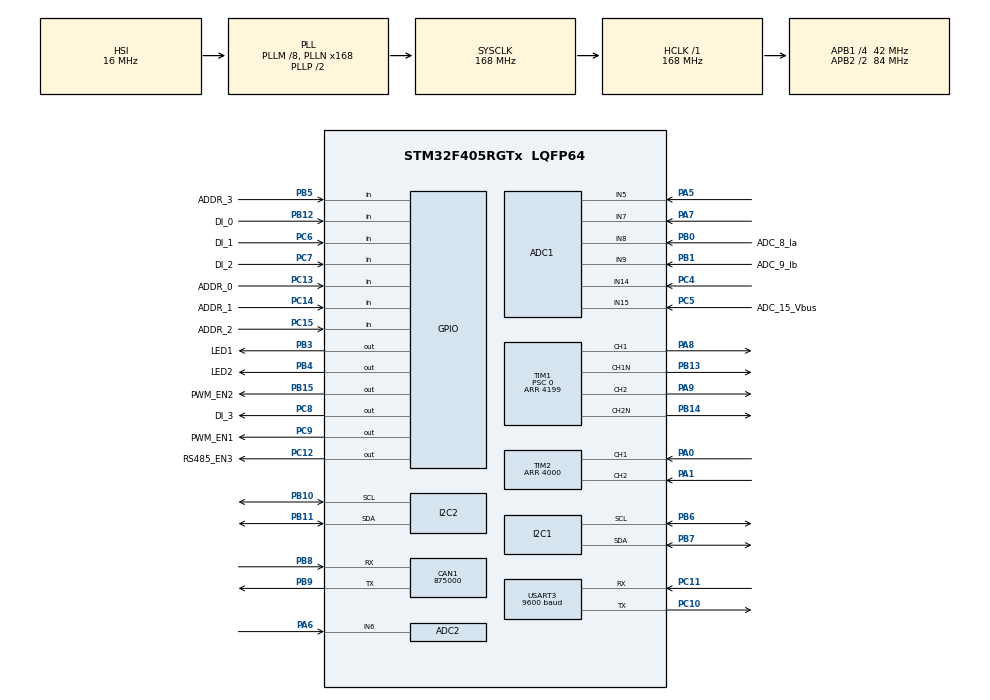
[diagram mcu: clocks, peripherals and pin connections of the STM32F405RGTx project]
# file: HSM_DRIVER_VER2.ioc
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ADC1.Channel-0\#ChannelRegularConversion=ADC_CHANNEL_9
ADC1.Channel-2\#ChannelRegularConversion=ADC_CHANNEL_8
ADC1.ClockPrescaler=ADC_CLOCK_SYNC_PCLK_DIV4
ADC1.ContinuousConvMode=DISABLE
ADC1.EOCSelection=ADC_EOC_SEQ_CONV
ADC1.NbrOfConversion=2
ADC1.NbrOfConversionFlag=1
ADC1.Rank-0\#ChannelRegularConversion=1
ADC1.Rank-2\#ChannelRegularConversion=2
ADC1.SamplingTime-0\#ChannelRegularConversion=ADC_SAMPLETIME_3CYCLES
ADC1.SamplingTime-2\#ChannelRegularConversion=ADC_SAMPLETIME_3CYCLES
ADC1.ScanConvMode=ENABLE
ADC1.master=1
ADC2.Channel-0\#ChannelRegularConversion=ADC_CHANNEL_6
ADC2.ClockPrescaler=ADC_CLOCK_SYNC_PCLK_DIV4
ADC2.NbrOfConversionFlag=1
ADC2.Rank-0\#ChannelRegularConversion=1
ADC2.SamplingTime-0\#ChannelRegularConversion=ADC_SAMPLETIME_3CYCLES
CAN1.CalculateBaudRate=875000
CAN1.CalculateTimeBit=1142
CAN1.CalculateTimeQuantum=380.95238095238096
Dma.ADC1.0.Direction=DMA_PERIPH_TO_MEMORY
Dma.ADC1.0.FIFOMode=DMA_FIFOMODE_DISABLE
Dma.ADC1.0.Instance=DMA2_Stream0
Dma.ADC1.0.MemDataAlignment=DMA_MDATAALIGN_HALFWORD
Dma.ADC1.0.MemInc=DMA_MINC_ENABLE
Dma.ADC1.0.Mode=DMA_NORMAL
Dma.ADC1.0.PeriphDataAlignment=DMA_PDATAALIGN_HALFWORD
Dma.ADC1.0.PeriphInc=DMA_PINC_DISABLE
Dma.ADC1.0.Priority=DMA_PRIORITY_VERY_HIGH
Dma.Request0=ADC1
Mcu.Family=STM32F4
Mcu.Name=STM32F405RGTx
Mcu.Package=LQFP64
NVIC.DMA2_Stream0_IRQn=true\:0\:0\:false\:false\:true\:false\:true\:true
NVIC.PriorityGroup=NVIC_PRIORITYGROUP_4
NVIC.TIM1_UP_TIM10_IRQn=true\:0\:0\:true\:false\:true\:true\:true\:true
PA0-WKUP.Signal=S_TIM2_CH1_ETR
PA1.Signal=S_TIM2_CH2
PA13.Mode=Serial_Wire
PA13.Signal=SYS_JTMS-SWDIO
PA14.Mode=Serial_Wire
PA14.Signal=SYS_JTCK-SWCLK
PA5.Signal=ADCx_IN5
PA6.Signal=ADCx_IN6
PA7.Signal=ADCx_IN7
PA8.Signal=S_TIM1_CH1
PA9.Signal=S_TIM1_CH2
PB0.GPIO_Label=ADC_8_Ia
PB0.Signal=ADCx_IN8
PB1.GPIO_Label=ADC_9_Ib
PB1.Signal=ADCx_IN9
PB10.Mode=I2C
PB10.Signal=I2C2_SCL
PB11.Mode=I2C
PB11.Signal=I2C2_SDA
PB12.GPIO_Label=DI_0
PB12.GPIO_PuPd=GPIO_NOPULL
PB12.Signal=GPIO_Input
PB13.Mode=PWM Generation1 CH1 CH1N
PB13.Signal=TIM1_CH1N
PB14.Mode=PWM Generation2 CH2 CH2N
PB14.Signal=TIM1_CH2N
PB15.GPIO_Label=PWM_EN2
PB15.Signal=GPIO_Output
PB3.GPIO_Label=LED1
PB3.Signal=GPIO_Output
PB4.GPIO_Label=LED2
PB4.Signal=GPIO_Output
PB5.GPIO_Label=ADDR_3
PB5.Signal=GPIO_Input
PB6.Mode=I2C
PB6.Signal=I2C1_SCL
PB7.Mode=I2C
PB7.Signal=I2C1_SDA
PB8.Mode=CAN_Activate
PB8.Signal=CAN1_RX
PB9.Mode=CAN_Activate
PB9.Signal=CAN1_TX
PC10.Mode=Asynchronous
PC10.Signal=USART3_TX
PC11.Mode=Asynchronous
PC11.Signal=USART3_RX
PC12.GPIO_Label=RS485_EN3
PC12.Signal=GPIO_Output
PC13-ANTI_TAMP.GPIO_Label=ADDR_0
PC13-ANTI_TAMP.GPIO_PuPd=GPIO_PULLUP
PC13-ANTI_TAMP.Signal=GPIO_Input
PC14-OSC32_IN.GPIO_Label=ADDR_1
PC14-OSC32_IN.GPIO_PuPd=GPIO_PULLUP
PC14-OSC32_IN.Signal=GPIO_Input
PC15-OSC32_OUT.GPIO_Label=ADDR_2
PC15-OSC32_OUT.Signal=GPIO_Input
PC4.Signal=ADCx_IN14
PC5.GPIO_Label=ADC_15_Vbus
PC5.Signal=ADCx_IN15
PC6.GPIO_Label=DI_1
PC6.GPIO_PuPd=GPIO_NOPULL
PC6.Signal=GPIO_Input
PC7.GPIO_Label=DI_2
PC7.Signal=GPIO_Input
PC8.GPIO_Label=DI_3
PC8.Signal=GPIO_Output
PC9.GPIO_Label=PWM_EN1
PC9.Signal=GPIO_Output
PH0-OSC_IN.Mode=HSE-External-Oscillator
PH0-OSC_IN.Signal=RCC_OSC_IN
PH1-OSC_OUT.Mode=HSE-External-Oscillator
PH1-OSC_OUT.Signal=RCC_OSC_OUT
ProjectManager.HeapSize=0x200
ProjectManager.StackSize=0x400
ProjectManager.TargetToolchain=MDK-ARM V5.32
RCC.48MHZClocksFreq_Value=84000000
RCC.AHBFreq_Value=168000000
RCC.APB1CLKDivider=RCC_HCLK_DIV4
RCC.APB1Freq_Value=42000000
RCC.APB1TimFreq_Value=84000000
RCC.APB2CLKDivider=RCC_HCLK_DIV2
RCC.APB2Freq_Value=84000000
RCC.APB2TimFreq_Value=168000000
RCC.CortexFreq_Value=168000000
RCC.HCLKFreq_Value=168000000
RCC.HSE_VALUE=25000000
RCC.HSI_VALUE=16000000
RCC.LSE_VALUE=32768
RCC.PLLM=8
RCC.PLLN=168
RCC.SYSCLKFreq_VALUE=168000000
RCC.SYSCLKSource=RCC_SYSCLKSOURCE_PLLCLK
RCC.VCOOutputFreq_Value=336000000
SH.ADCx_IN14.0=ADC1_IN14,IN14
SH.ADCx_IN15.0=ADC1_IN15,IN15
SH.ADCx_IN5.0=ADC1_IN5,IN5
SH.ADCx_IN6.0=ADC2_IN6,IN6
SH.ADCx_IN7.0=ADC1_IN7,IN7
SH.ADCx_IN8.0=ADC1_IN8,IN8
SH.ADCx_IN9.0=ADC1_IN9,IN9
SH.S_TIM1_CH1.0=TIM1_CH1,PWM Generation1 CH1 CH1N
SH.S_TIM1_CH2.0=TIM1_CH2,PWM Generation2 CH2 CH2N
SH.S_TIM2_CH1_ETR.0=TIM2_CH1,Encoder_Interface
SH.S_TIM2_CH2.0=TIM2_CH2,Encoder_Interface
TIM1.AutoReloadPreload=TIM_AUTORELOAD_PRELOAD_ENABLE
TIM1.Channel-PWM\ Generation1\ CH1\ CH1N=TIM_CHANNEL_1
TIM1.Channel-PWM\ Generation2\ CH2\ CH2N=TIM_CHANNEL_2
TIM1.CounterMode=TIM_COUNTERMODE_CENTERALIGNED1
TIM1.OCNIdleState_1=TIM_OCNIDLESTATE_SET
TIM1.OCNIdleState_2=TIM_OCNIDLESTATE_SET
TIM1.Period=4199
TIM1.Prescaler=0
TIM1.Pulse-PWM\ Generation1\ CH1\ CH1N=0
TIM1.Pulse-PWM\ Generation2\ CH2\ CH2N=0
TIM1.RepetitionCounter=0
TIM2.EncoderMode=TIM_ENCODERMODE_TI12
TIM2.IC1Filter=10
TIM2.IC2Filter=10
TIM2.Period=4000
TIM3.Prescaler=83 
TIM5.Prescaler=83
USART3.BaudRate=9600
USART3.VirtualMode=VM_ASYNC
VP_TIM1_VS_ClockSourceINT.Mode=Internal
VP_TIM3_VS_ClockSourceINT.Mode=Internal
VP_TIM5_VS_ClockSourceINT.Mode=Internal
board=custom

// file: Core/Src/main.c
/* USER CODE BEGIN Header */
/**
  ******************************************************************************
  * @file           : main.c
  * @brief          : Main program body
  ******************************************************************************
  * @attention
  *
  * Copyright (c) 2023 STMicroelectronics.
  * All rights reserved.
  *
  * This software is licensed under terms that can be found in the LICENSE file
  * in the root directory of this software component.
  * If no LICENSE file comes with this software, it is provided AS-IS.
  *
  ******************************************************************************
  */
/* USER CODE END Header */
#include "main.h"

ADC_HandleTypeDef hadc1;
ADC_HandleTypeDef hadc2;
DMA_HandleTypeDef hdma_adc1;

CAN_HandleTypeDef hcan1;

I2C_HandleTypeDef hi2c1;
I2C_HandleTypeDef hi2c2;

TIM_HandleTypeDef htim1;
TIM_HandleTypeDef htim2;
TIM_HandleTypeDef htim3;
TIM_HandleTypeDef htim5;

UART_HandleTypeDef huart3;

void SystemClock_Config(void);
static void MX_GPIO_Init(void);
static void MX_DMA_Init(void);
static void MX_ADC1_Init(void);
static void MX_ADC2_Init(void);
static void MX_CAN1_Init(void);
static void MX_I2C1_Init(void);
static void MX_I2C2_Init(void);
static void MX_TIM1_Init(void);
static void MX_TIM2_Init(void);
static void MX_USART3_UART_Init(void);
static void MX_TIM3_Init(void);
static void MX_TIM5_Init(void);

/* USER CODE BEGIN 0 */
		/*Initiate Variables*/
		HSM hsm_var; 							// hybrid stepper motor variable
		StateMachine mState_var;		// state of machine

		ENCODER_OBJECT encoder_var, theta_var;
		PI_OBJECT PI_Id_var, PI_Iq_var, PI_speed_var, P_position_var;
		ADC_OBJECT adc_var;

		FLAG flag_var;
		CONTROL_OBJECT control_var;
		SVPWM svpwm_var;
		LPF LPF_speed_var, LPF_current_var, LPF_voltage_var;
		UART uart_var;
		RAMP ramp_rpm_var;

		uint16_t pul = 0;
		uint8_t dir = 0;

		/*HAM NGAT TIMER********************************************/
		void HAL_TIM_PeriodElapsedCallback(TIM_HandleTypeDef *htim){
			/* Prevent unused argument(s) compilation warning */
			UNUSED(htim);
			/*USER CODE*/

				if (htim->Instance == htim1.Instance){			// interrupt every 25us

					if(mState_var.mRUN_MODE == CLOSE_CS_LOOP && mState_var.mSTATE == mRUN){			// close current + speed loop mode
						flag_var.flag_25us_20ms++;
						if(flag_var.flag_25us_20ms >= 2000){				// every 5ms
							flag_var.flag_25us_20ms = 0;
							//if(mState_var.start_set_rpm == 1)
							CAL_SPEED(&encoder_var);
							SPEED_LOOP(&control_var, &PI_speed_var, 120);
							//SAVE_DATA(GET_S_DATA);
						}
					}

					flag_var.flag_25us_50us++;
					if(flag_var.flag_25us_50us >= 2){			// every 50us
						flag_var.flag_25us_50us = 0;
						CAL_CURRENT(&adc_var);
						STATE_MACHINE_HANDLE();
						SAVE_DATA(GET_C_DATA);
					}

				}
		}

/* USER CODE END 0 */

int main(void)
{

  /* MCU Configuration--------------------------------------------------------*/

  /* Reset of all peripherals, Initializes the Flash interface and the Systick. */
  HAL_Init();

  /* Configure the system clock */
  SystemClock_Config();

  /* Initialize all configured peripherals */
  MX_GPIO_Init();
  MX_DMA_Init();
  MX_ADC1_Init();
  MX_ADC2_Init();
  MX_CAN1_Init();
  MX_I2C1_Init();
  MX_I2C2_Init();
  MX_TIM1_Init();
  MX_TIM2_Init();
  MX_USART3_UART_Init();
  MX_TIM3_Init();
  MX_TIM5_Init();
  /* USER CODE BEGIN 2 */
			HAL_GPIO_WritePin(LED1_GPIO_Port, LED1_Pin, GPIO_PIN_SET);		// 	disable led 1
			HAL_GPIO_WritePin(LED2_GPIO_Port, LED2_Pin, GPIO_PIN_SET);		//  disable led 2
			Motor_Disable();
		// BAT CHE DO PHAT XUNG PWM 2 KENH
			HAL_TIM_PWM_Start(&htim1, TIM_CHANNEL_1);
			HAL_TIMEx_PWMN_Start(&htim1, TIM_CHANNEL_1);
			HAL_TIM_PWM_Start(&htim1, TIM_CHANNEL_2);
			HAL_TIMEx_PWMN_Start(&htim1, TIM_CHANNEL_2);
		// START ADC
			HAL_ADC_Start(&hadc1);

		// CONFIG TIMER
			HAL_TIM_Base_Start_IT(&htim1); 			// PWM & control loop
			HAL_TIM_Base_Start_IT(&htim2); 			// Encoder
			HAL_TIM_Base_Start(&htim3); 		 		//	counter timer - delay timer (not used yet)
			HAL_TIM_Base_Start(&htim5); 		 		//	counter timer - delay timer (not used yet)
			HAL_TIM_Encoder_Start(&htim2, TIM_CHANNEL_ALL);			// Encoder on htim 2
		// INIT FUNCTIONS
			MOTOR_Init(&hsm_var);

			FLAG_Init(&flag_var);
			ADC_Init(&adc_var);
			ENCODER_Init(&encoder_var, 1000, 4, 50e-3);			// use for cal the speed
			ENCODER_Init(&theta_var, 1000, 4, NULL);		// use for count the received pulse, then cal the theta mechanical (rad)

			CONTROLLER_Init(&control_var, 50e-6);			/*CONTROLLER_Init(control var, Ts);*/
			SVPWM_Init(&svpwm_var);

			LPF_Init(&LPF_current_var, 1000, 0.0001);
			LPF_Init(&LPF_speed_var, 10, 0.01);
			LPF_Init(&LPF_voltage_var, 10, 0.01);

			PI_CURRENT_Init(&PI_Id_var, 50e-6);
			PI_CURRENT_Init(&PI_Iq_var, 50e-6);
			PI_SPEED_Init(&PI_speed_var, 50e-3);

			UART_Init(&uart_var);
			RAMP_Init(&ramp_rpm_var, 10, 10, 10, hsm_var.Speed_max, 50e-3);

			STATE_MACHINE_Init(CLOSE_C_LOOP);

			//STATE_MACHINE_Init(OPENLOOP);

			//STATE_MACHINE_Init(CLOSE_CS_LOOP);

  /* USER CODE END 2 */

  /* Infinite loop */
  while (1)
  {

    /* USER CODE BEGIN 3 */
		SEND_DATA();
  }
  /* USER CODE END 3 */
}

void SystemClock_Config(void)
{
  RCC_OscInitTypeDef RCC_OscInitStruct = {0};
  RCC_ClkInitTypeDef RCC_ClkInitStruct = {0};

  /** Configure the main internal regulator output voltage
  */
  __HAL_RCC_PWR_CLK_ENABLE();
  __HAL_PWR_VOLTAGESCALING_CONFIG(PWR_REGULATOR_VOLTAGE_SCALE1);

  /** Initializes the RCC Oscillators according to the specified parameters
  * in the RCC_OscInitTypeDef structure.
  */
  RCC_OscInitStruct.OscillatorType = RCC_OSCILLATORTYPE_HSI;
  RCC_OscInitStruct.HSIState = RCC_HSI_ON;
  RCC_OscInitStruct.HSICalibrationValue = RCC_HSICALIBRATION_DEFAULT;
  RCC_OscInitStruct.PLL.PLLState = RCC_PLL_ON;
  RCC_OscInitStruct.PLL.PLLSource = RCC_PLLSOURCE_HSI;
  RCC_OscInitStruct.PLL.PLLM = 8;
  RCC_OscInitStruct.PLL.PLLN = 168;
  RCC_OscInitStruct.PLL.PLLP = RCC_PLLP_DIV2;
  RCC_OscInitStruct.PLL.PLLQ = 4;
  if (HAL_RCC_OscConfig(&RCC_OscInitStruct) != HAL_OK)
  {
    Error_Handler();
  }

  /** Initializes the CPU, AHB and APB buses clocks
  */
  RCC_ClkInitStruct.ClockType = RCC_CLOCKTYPE_HCLK|RCC_CLOCKTYPE_SYSCLK
                              |RCC_CLOCKTYPE_PCLK1|RCC_CLOCKTYPE_PCLK2;
  RCC_ClkInitStruct.SYSCLKSource = RCC_SYSCLKSOURCE_PLLCLK;
  RCC_ClkInitStruct.AHBCLKDivider = RCC_SYSCLK_DIV1;
  RCC_ClkInitStruct.APB1CLKDivider = RCC_HCLK_DIV4;
  RCC_ClkInitStruct.APB2CLKDivider = RCC_HCLK_DIV2;

  if (HAL_RCC_ClockConfig(&RCC_ClkInitStruct, FLASH_LATENCY_5) != HAL_OK)
  {
    Error_Handler();
  }
}

static void MX_ADC1_Init(void)
{

  ADC_ChannelConfTypeDef sConfig = {0};

  /** Configure the global features of the ADC (Clock, Resolution, Data Alignment and number of conversion)
  */
  hadc1.Instance = ADC1;
  hadc1.Init.ClockPrescaler = ADC_CLOCK_SYNC_PCLK_DIV4;
  hadc1.Init.Resolution = ADC_RESOLUTION_12B;
  hadc1.Init.ScanConvMode = ENABLE;
  hadc1.Init.ContinuousConvMode = DISABLE;
  hadc1.Init.DiscontinuousConvMode = DISABLE;
  hadc1.Init.ExternalTrigConvEdge = ADC_EXTERNALTRIGCONVEDGE_NONE;
  hadc1.Init.ExternalTrigConv = ADC_SOFTWARE_START;
  hadc1.Init.DataAlign = ADC_DATAALIGN_RIGHT;
  hadc1.Init.NbrOfConversion = 2;
  hadc1.Init.DMAContinuousRequests = DISABLE;
  hadc1.Init.EOCSelection = ADC_EOC_SEQ_CONV;
  if (HAL_ADC_Init(&hadc1) != HAL_OK)
  {
    Error_Handler();
  }

  /** Configure for the selected ADC regular channel its corresponding rank in the sequencer and its sample time.
  */
  sConfig.Channel = ADC_CHANNEL_9;
  sConfig.Rank = 1;
  sConfig.SamplingTime = ADC_SAMPLETIME_3CYCLES;
  if (HAL_ADC_ConfigChannel(&hadc1, &sConfig) != HAL_OK)
  {
    Error_Handler();
  }

  /** Configure for the selected ADC regular channel its corresponding rank in the sequencer and its sample time.
  */
  sConfig.Channel = ADC_CHANNEL_8;
  sConfig.Rank = 2;
  if (HAL_ADC_ConfigChannel(&hadc1, &sConfig) != HAL_OK)
  {
    Error_Handler();
  }

}

static void MX_ADC2_Init(void)
{

  ADC_ChannelConfTypeDef sConfig = {0};

  /** Configure the global features of the ADC (Clock, Resolution, Data Alignment and number of conversion)
  */
  hadc2.Instance = ADC2;
  hadc2.Init.ClockPrescaler = ADC_CLOCK_SYNC_PCLK_DIV4;
  hadc2.Init.Resolution = ADC_RESOLUTION_12B;
  hadc2.Init.ScanConvMode = DISABLE;
  hadc2.Init.ContinuousConvMode = DISABLE;
  hadc2.Init.DiscontinuousConvMode = DISABLE;
  hadc2.Init.ExternalTrigConvEdge = ADC_EXTERNALTRIGCONVEDGE_NONE;
  hadc2.Init.ExternalTrigConv = ADC_SOFTWARE_START;
  hadc2.Init.DataAlign = ADC_DATAALIGN_RIGHT;
  hadc2.Init.NbrOfConversion = 1;
  hadc2.Init.DMAContinuousRequests = DISABLE;
  hadc2.Init.EOCSelection = ADC_EOC_SINGLE_CONV;
  if (HAL_ADC_Init(&hadc2) != HAL_OK)
  {
    Error_Handler();
  }

  /** Configure for the selected ADC regular channel its corresponding rank in the sequencer and its sample time.
  */
  sConfig.Channel = ADC_CHANNEL_6;
  sConfig.Rank = 1;
  sConfig.SamplingTime = ADC_SAMPLETIME_3CYCLES;
  if (HAL_ADC_ConfigChannel(&hadc2, &sConfig) != HAL_OK)
  {
    Error_Handler();
  }

}

static void MX_CAN1_Init(void)
{

  hcan1.Instance = CAN1;
  hcan1.Init.Prescaler = 16;
  hcan1.Init.Mode = CAN_MODE_NORMAL;
  hcan1.Init.SyncJumpWidth = CAN_SJW_1TQ;
  hcan1.Init.TimeSeg1 = CAN_BS1_1TQ;
  hcan1.Init.TimeSeg2 = CAN_BS2_1TQ;
  hcan1.Init.TimeTriggeredMode = DISABLE;
  hcan1.Init.AutoBusOff = DISABLE;
  hcan1.Init.AutoWakeUp = DISABLE;
  hcan1.Init.AutoRetransmission = DISABLE;
  hcan1.Init.ReceiveFifoLocked = DISABLE;
  hcan1.Init.TransmitFifoPriority = DISABLE;
  if (HAL_CAN_Init(&hcan1) != HAL_OK)
  {
    Error_Handler();
  }

}

static void MX_I2C1_Init(void)
{

  hi2c1.Instance = I2C1;
  hi2c1.Init.ClockSpeed = 100000;
  hi2c1.Init.DutyCycle = I2C_DUTYCYCLE_2;
  hi2c1.Init.OwnAddress1 = 0;
  hi2c1.Init.AddressingMode = I2C_ADDRESSINGMODE_7BIT;
  hi2c1.Init.DualAddressMode = I2C_DUALADDRESS_DISABLE;
  hi2c1.Init.OwnAddress2 = 0;
  hi2c1.Init.GeneralCallMode = I2C_GENERALCALL_DISABLE;
  hi2c1.Init.NoStretchMode = I2C_NOSTRETCH_DISABLE;
  if (HAL_I2C_Init(&hi2c1) != HAL_OK)
  {
    Error_Handler();
  }

}

static void MX_I2C2_Init(void)
{

  hi2c2.Instance = I2C2;
  hi2c2.Init.ClockSpeed = 100000;
  hi2c2.Init.DutyCycle = I2C_DUTYCYCLE_2;
  hi2c2.Init.OwnAddress1 = 0;
  hi2c2.Init.AddressingMode = I2C_ADDRESSINGMODE_7BIT;
  hi2c2.Init.DualAddressMode = I2C_DUALADDRESS_DISABLE;
  hi2c2.Init.OwnAddress2 = 0;
  hi2c2.Init.GeneralCallMode = I2C_GENERALCALL_DISABLE;
  hi2c2.Init.NoStretchMode = I2C_NOSTRETCH_DISABLE;
  if (HAL_I2C_Init(&hi2c2) != HAL_OK)
  {
    Error_Handler();
  }

}

static void MX_TIM1_Init(void)
{

  TIM_ClockConfigTypeDef sClockSourceConfig = {0};
  TIM_MasterConfigTypeDef sMasterConfig = {0};
  TIM_OC_InitTypeDef sConfigOC = {0};
  TIM_BreakDeadTimeConfigTypeDef sBreakDeadTimeConfig = {0};

  htim1.Instance = TIM1;
  htim1.Init.Prescaler = 0;
  htim1.Init.CounterMode = TIM_COUNTERMODE_CENTERALIGNED1;
  htim1.Init.Period = 4199;
  htim1.Init.ClockDivision = TIM_CLOCKDIVISION_DIV1;
  htim1.Init.RepetitionCounter = 0;
  htim1.Init.AutoReloadPreload = TIM_AUTORELOAD_PRELOAD_ENABLE;
  if (HAL_TIM_Base_Init(&htim1) != HAL_OK)
  {
    Error_Handler();
  }
  sClockSourceConfig.ClockSource = TIM_CLOCKSOURCE_INTERNAL;
  if (HAL_TIM_ConfigClockSource(&htim1, &sClockSourceConfig) != HAL_OK)
  {
    Error_Handler();
  }
  if (HAL_TIM_PWM_Init(&htim1) != HAL_OK)
  {
    Error_Handler();
  }
  sMasterConfig.MasterOutputTrigger = TIM_TRGO_RESET;
  sMasterConfig.MasterSlaveMode = TIM_MASTERSLAVEMODE_DISABLE;
  if (HAL_TIMEx_MasterConfigSynchronization(&htim1, &sMasterConfig) != HAL_OK)
  {
    Error_Handler();
  }
  sConfigOC.OCMode = TIM_OCMODE_PWM1;
  sConfigOC.Pulse = 0;
  sConfigOC.OCPolarity = TIM_OCPOLARITY_HIGH;
  sConfigOC.OCNPolarity = TIM_OCNPOLARITY_HIGH;
  sConfigOC.OCFastMode = TIM_OCFAST_DISABLE;
  sConfigOC.OCIdleState = TIM_OCIDLESTATE_RESET;
  sConfigOC.OCNIdleState = TIM_OCNIDLESTATE_SET;
  if (HAL_TIM_PWM_ConfigChannel(&htim1, &sConfigOC, TIM_CHANNEL_1) != HAL_OK)
  {
    Error_Handler();
  }
  if (HAL_TIM_PWM_ConfigChannel(&htim1, &sConfigOC, TIM_CHANNEL_2) != HAL_OK)
  {
    Error_Handler();
  }
  sBreakDeadTimeConfig.OffStateRunMode = TIM_OSSR_DISABLE;
  sBreakDeadTimeConfig.OffStateIDLEMode = TIM_OSSI_DISABLE;
  sBreakDeadTimeConfig.LockLevel = TIM_LOCKLEVEL_OFF;
  sBreakDeadTimeConfig.DeadTime = 0;
  sBreakDeadTimeConfig.BreakState = TIM_BREAK_DISABLE;
  sBreakDeadTimeConfig.BreakPolarity = TIM_BREAKPOLARITY_HIGH;
  sBreakDeadTimeConfig.AutomaticOutput = TIM_AUTOMATICOUTPUT_DISABLE;
  if (HAL_TIMEx_ConfigBreakDeadTime(&htim1, &sBreakDeadTimeConfig) != HAL_OK)
  {
    Error_Handler();
  }
  HAL_TIM_MspPostInit(&htim1);

}

static void MX_TIM2_Init(void)
{

  TIM_Encoder_InitTypeDef sConfig = {0};
  TIM_MasterConfigTypeDef sMasterConfig = {0};

  htim2.Instance = TIM2;
  htim2.Init.Prescaler = 0;
  htim2.Init.CounterMode = TIM_COUNTERMODE_UP;
  htim2.Init.Period = 4000;
  htim2.Init.ClockDivision = TIM_CLOCKDIVISION_DIV1;
  htim2.Init.AutoReloadPreload = TIM_AUTORELOAD_PRELOAD_DISABLE;
  sConfig.EncoderMode = TIM_ENCODERMODE_TI12;
  sConfig.IC1Polarity = TIM_ICPOLARITY_RISING;
  sConfig.IC1Selection = TIM_ICSELECTION_DIRECTTI;
  sConfig.IC1Prescaler = TIM_ICPSC_DIV1;
  sConfig.IC1Filter = 10;
  sConfig.IC2Polarity = TIM_ICPOLARITY_RISING;
  sConfig.IC2Selection = TIM_ICSELECTION_DIRECTTI;
  sConfig.IC2Prescaler = TIM_ICPSC_DIV1;
  sConfig.IC2Filter = 10;
  if (HAL_TIM_Encoder_Init(&htim2, &sConfig) != HAL_OK)
  {
    Error_Handler();
  }
  sMasterConfig.MasterOutputTrigger = TIM_TRGO_RESET;
  sMasterConfig.MasterSlaveMode = TIM_MASTERSLAVEMODE_DISABLE;
  if (HAL_TIMEx_MasterConfigSynchronization(&htim2, &sMasterConfig) != HAL_OK)
  {
    Error_Handler();
  }

}

static void MX_TIM3_Init(void)
{

  TIM_ClockConfigTypeDef sClockSourceConfig = {0};
  TIM_MasterConfigTypeDef sMasterConfig = {0};

  htim3.Instance = TIM3;
  htim3.Init.Prescaler = 83 ;
  htim3.Init.CounterMode = TIM_COUNTERMODE_UP;
  htim3.Init.Period = 65535;
  htim3.Init.ClockDivision = TIM_CLOCKDIVISION_DIV1;
  htim3.Init.AutoReloadPreload = TIM_AUTORELOAD_PRELOAD_DISABLE;
  if (HAL_TIM_Base_Init(&htim3) != HAL_OK)
  {
    Error_Handler();
  }
  sClockSourceConfig.ClockSource = TIM_CLOCKSOURCE_INTERNAL;
  if (HAL_TIM_ConfigClockSource(&htim3, &sClockSourceConfig) != HAL_OK)
  {
    Error_Handler();
  }
  sMasterConfig.MasterOutputTrigger = TIM_TRGO_RESET;
  sMasterConfig.MasterSlaveMode = TIM_MASTERSLAVEMODE_DISABLE;
  if (HAL_TIMEx_MasterConfigSynchronization(&htim3, &sMasterConfig) != HAL_OK)
  {
    Error_Handler();
  }

}

static void MX_TIM5_Init(void)
{

  TIM_ClockConfigTypeDef sClockSourceConfig = {0};
  TIM_MasterConfigTypeDef sMasterConfig = {0};

  htim5.Instance = TIM5;
  htim5.Init.Prescaler = 83;
  htim5.Init.CounterMode = TIM_COUNTERMODE_UP;
  htim5.Init.Period = 4294967295;
  htim5.Init.ClockDivision = TIM_CLOCKDIVISION_DIV1;
  htim5.Init.AutoReloadPreload = TIM_AUTORELOAD_PRELOAD_DISABLE;
  if (HAL_TIM_Base_Init(&htim5) != HAL_OK)
  {
    Error_Handler();
  }
  sClockSourceConfig.ClockSource = TIM_CLOCKSOURCE_INTERNAL;
  if (HAL_TIM_ConfigClockSource(&htim5, &sClockSourceConfig) != HAL_OK)
  {
    Error_Handler();
  }
  sMasterConfig.MasterOutputTrigger = TIM_TRGO_RESET;
  sMasterConfig.MasterSlaveMode = TIM_MASTERSLAVEMODE_DISABLE;
  if (HAL_TIMEx_MasterConfigSynchronization(&htim5, &sMasterConfig) != HAL_OK)
  {
    Error_Handler();
  }

}

static void MX_USART3_UART_Init(void)
{

  huart3.Instance = USART3;
  huart3.Init.BaudRate = 2400;
  huart3.Init.WordLength = UART_WORDLENGTH_8B;
  huart3.Init.StopBits = UART_STOPBITS_1;
  huart3.Init.Parity = UART_PARITY_NONE;
  huart3.Init.Mode = UART_MODE_TX_RX;
  huart3.Init.HwFlowCtl = UART_HWCONTROL_NONE;
  huart3.Init.OverSampling = UART_OVERSAMPLING_16;
  if (HAL_UART_Init(&huart3) != HAL_OK)
  {
    Error_Handler();
  }

}

static void MX_DMA_Init(void)
{

  /* DMA controller clock enable */
  __HAL_RCC_DMA2_CLK_ENABLE();

  /* DMA interrupt init */
  /* DMA2_Stream0_IRQn interrupt configuration */
  HAL_NVIC_SetPriority(DMA2_Stream0_IRQn, 0, 0);
  HAL_NVIC_EnableIRQ(DMA2_Stream0_IRQn);

}

static void MX_GPIO_Init(void)
{
  GPIO_InitTypeDef GPIO_InitStruct = {0};

  /* GPIO Ports Clock Enable */
  __HAL_RCC_GPIOC_CLK_ENABLE();
  __HAL_RCC_GPIOH_CLK_ENABLE();
  __HAL_RCC_GPIOA_CLK_ENABLE();
  __HAL_RCC_GPIOB_CLK_ENABLE();

  /*Configure GPIO pin Output Level */
  HAL_GPIO_WritePin(GPIOB, PWM_EN2_Pin|LED1_Pin|LED2_Pin, GPIO_PIN_RESET);

  /*Configure GPIO pin Output Level */
  HAL_GPIO_WritePin(GPIOC, DI_3_Pin|PWM_EN1_Pin|RS485_EN3_Pin, GPIO_PIN_RESET);

  /*Configure GPIO pins : ADDR_0_Pin ADDR_1_Pin */
  GPIO_InitStruct.Pin = ADDR_0_Pin|ADDR_1_Pin;
  GPIO_InitStruct.Mode = GPIO_MODE_INPUT;
  GPIO_InitStruct.Pull = GPIO_PULLUP;
  HAL_GPIO_Init(GPIOC, &GPIO_InitStruct);

  /*Configure GPIO pins : ADDR_2_Pin DI_1_Pin DI_2_Pin */
  GPIO_InitStruct.Pin = ADDR_2_Pin|DI_1_Pin|DI_2_Pin;
  GPIO_InitStruct.Mode = GPIO_MODE_INPUT;
  GPIO_InitStruct.Pull = GPIO_NOPULL;
  HAL_GPIO_Init(GPIOC, &GPIO_InitStruct);

  /*Configure GPIO pins : DI_0_Pin ADDR_3_Pin */
  GPIO_InitStruct.Pin = DI_0_Pin|ADDR_3_Pin;
  GPIO_InitStruct.Mode = GPIO_MODE_INPUT;
  GPIO_InitStruct.Pull = GPIO_NOPULL;
  HAL_GPIO_Init(GPIOB, &GPIO_InitStruct);

  /*Configure GPIO pins : PWM_EN2_Pin LED1_Pin LED2_Pin */
  GPIO_InitStruct.Pin = PWM_EN2_Pin|LED1_Pin|LED2_Pin;
  GPIO_InitStruct.Mode = GPIO_MODE_OUTPUT_PP;
  GPIO_InitStruct.Pull = GPIO_NOPULL;
  GPIO_InitStruct.Speed = GPIO_SPEED_FREQ_LOW;
  HAL_GPIO_Init(GPIOB, &GPIO_InitStruct);

  /*Configure GPIO pins : DI_3_Pin PWM_EN1_Pin RS485_EN3_Pin */
  GPIO_InitStruct.Pin = DI_3_Pin|PWM_EN1_Pin|RS485_EN3_Pin;
  GPIO_InitStruct.Mode = GPIO_MODE_OUTPUT_PP;
  GPIO_InitStruct.Pull = GPIO_NOPULL;
  GPIO_InitStruct.Speed = GPIO_SPEED_FREQ_LOW;
  HAL_GPIO_Init(GPIOC, &GPIO_InitStruct);

}

void Error_Handler(void)
{
  __disable_irq();
  while (1)
  {
  }
}
